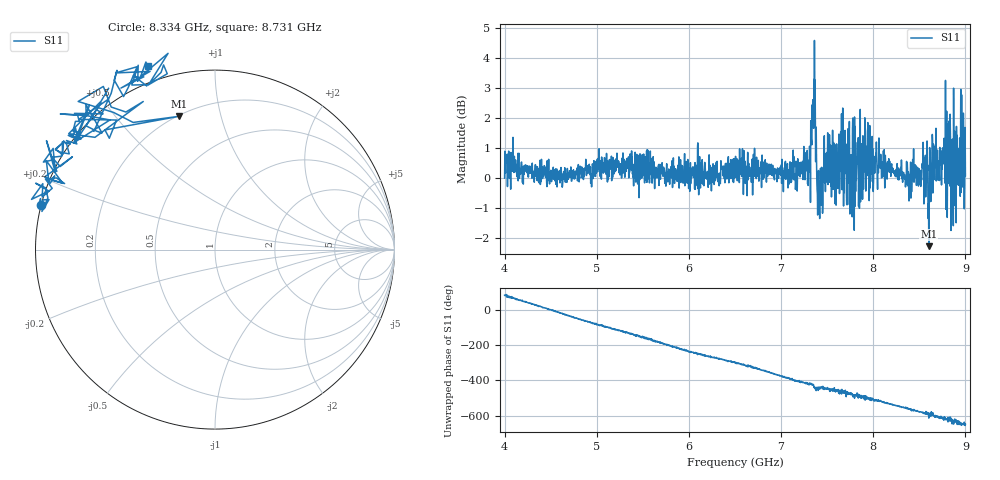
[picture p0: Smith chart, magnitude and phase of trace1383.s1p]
! Created with skrf 1.8.0 (http://scikit-rf.org).
# Hz S RI R 50.0
!freq ReS11 ImS11
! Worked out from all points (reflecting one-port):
!   1601 points, 4 GHz to 9 GHz, reference 50 ohm
!   lowest |S11| = -2.3 dB at 8.603 GHz (marker M1), VSWR 7.67, Z = 10.2 + j37.2 ohm
!   phase of S11 starts at 86 deg and turns -736 deg over the sweep
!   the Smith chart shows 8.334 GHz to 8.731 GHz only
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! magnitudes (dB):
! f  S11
! 4 GHz  0.0
! 4.094 GHz  0.4
! 4.625 GHz  -0.3
! 5.25 GHz  0.3
! 5.875 GHz  -0.1
! 6.5 GHz  0.6
! 7.125 GHz  0.2
! 7.294 GHz  -0.3
! 7.347 GHz  2.1
! 7.362 GHz  4.6
! 7.412 GHz  -0.7
! 7.481 GHz  -0.5
! 7.609 GHz  0.0
! 7.65 GHz  0.8
! 7.681 GHz  1.3
! 7.703 GHz  1.1
! 7.75 GHz  0.4
! 7.769 GHz  0.1
! 7.928 GHz  1.0
! 7.981 GHz  0.1
! 8.375 GHz  0.1
! 8.559 GHz  0.2
! 8.603 GHz  -2.3
! 8.656 GHz  0.8
! 8.809 GHz  1.8
! 8.869 GHz  -1.6
! 8.959 GHz  2.8
! 9 GHz  0.1
